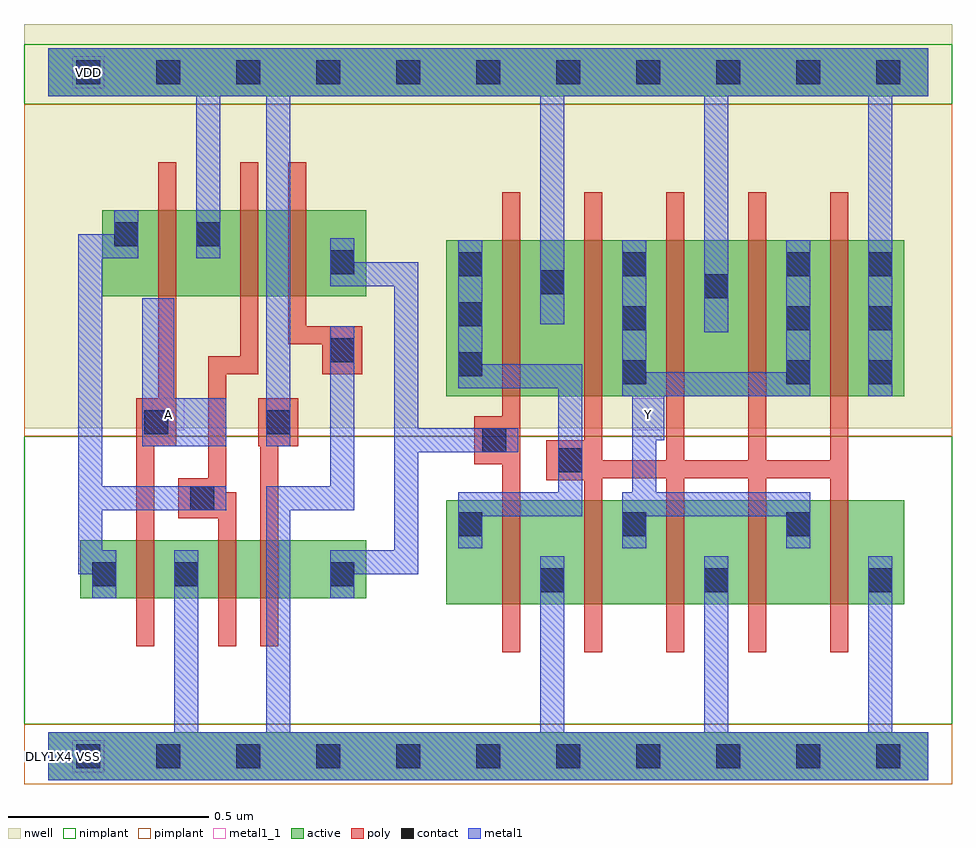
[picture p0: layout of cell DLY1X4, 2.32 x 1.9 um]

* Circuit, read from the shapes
.subckt DLY1X4 A VDD VSS Y
M1 VSS A n1 VSS nfet w=0.145u l=0.045u
M2 n2 n1 VSS VSS nfet w=0.145u l=0.045u
M3 n3 VDD n2 VSS nfet w=0.145u l=0.045u
M4 VSS n3 n4 VSS nfet w=0.26u l=0.045u
M5 Y n4 VSS VSS nfet w=0.26u l=0.045u m=4
M6 VDD A n1 VDD pfet w=0.215u l=0.045u
M7 n5 n1 VDD VDD pfet w=0.215u l=0.045u
M8 n3 VSS n5 VDD pfet w=0.215u l=0.045u
M9 VDD n3 n4 VDD pfet w=0.39u l=0.045u
M10 Y n4 VDD VDD pfet w=0.39u l=0.045u m=4
.ends

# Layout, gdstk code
import gdstk
lib = gdstk.Library(unit=1e-6, precision=5e-10)
def R(c, l, rs):  # rectangles x0, y0, x1, y1
    for r in rs: c.add(gdstk.rectangle(r[:2], r[2:], *l))
def A(c, l, x, y, w, h, nx, ny, dx, dy):  # array of equal rectangles
    R(c, l, [(x+i*dx, y+j*dy, x+i*dx+w, y+j*dy+h) for i in range(nx) for j in range(ny)])
def P(c, l, *ps):  # polygons
    for p in ps: c.add(gdstk.Polygon(p, *l))
active = (1, 0)
nwell = (2, 0)
poly = (3, 0)
nimplant = (4, 0)
pimplant = (5, 0)
contact = (6, 0)
metal1 = (7, 0)
metal1_1 = (7, 1)

dly1x4 = lib.new_cell('DLY1X4')
R(dly1x4, active, [(0,-0.06,2.2,0.06), (0.995,0.38,2.14,0.64), (0.08,0.395,0.795,0.54), (0.995,0.9,2.14,1.29), (0.135,1.15,0.795,1.365), (0,1.65,2.2,1.77)])
R(dly1x4, nwell, [(-0.06,0.82,2.26,1.83)])
P(dly1x4, poly, [(0.275,1.485),(0.32,1.485),(0.32,0.775),(0.265,0.775),(0.265,0.275),(0.22,0.275),(0.22,0.895),(0.275,0.895)],
  [(0.48,1.485),(0.525,1.485),(0.525,0.955),(0.445,0.955),(0.445,0.66),(0.47,0.66),(0.47,0.275),(0.425,0.275),(0.425,0.595),(0.325,0.595),(0.325,0.695),(0.4,0.695),(0.4,1),(0.48,1)],
  [(0.6,1.485),(0.645,1.485),(0.645,1.075),(0.785,1.075),(0.785,0.955),(0.685,0.955),(0.685,1.03),(0.6,1.03)],
  [(1.135,1.41),(1.18,1.41),(1.18,0.26),(1.135,0.26),(1.135,0.73),(1.065,0.73),(1.065,0.85),(1.135,0.85)],
  [(1.34,1.41),(1.385,1.41),(1.385,0.74),(1.545,0.74),(1.545,1.41),(1.59,1.41),(1.59,0.74),(1.75,0.74),(1.75,1.41),(1.795,1.41),(1.795,0.74),(1.955,0.74),(1.955,1.41),(2,1.41),(2,0.26),(1.955,0.26),(1.955,0.695),(1.795,0.695),(1.795,0.26),(1.75,0.26),(1.75,0.695),(1.59,0.695),(1.59,0.26),(1.545,0.26),(1.545,0.695),(1.385,0.695),(1.385,0.26),(1.34,0.26),(1.34,0.69),(1.245,0.69),(1.245,0.79),(1.34,0.79)],
  [(0.525,0.895),(0.625,0.895),(0.625,0.775),(0.575,0.775),(0.575,0.275),(0.53,0.275),(0.53,0.775),(0.525,0.775)])
R(dly1x4, nimplant, [(-0.06,0.08,2.26,0.8), (-0.06,1.63,2.26,1.78)])
R(dly1x4, pimplant, [(-0.06,-0.07,2.26,0.08), (-0.06,0.8,2.26,1.63)])
A(dly1x4, contact, 0.07, -0.03, 0.06, 0.06, 11, 2, 0.2, 1.71)
A(dly1x4, contact, 1.23, 0.41, 0.06, 0.06, 3, 1, 0.41, 0)
A(dly1x4, contact, 1.025, 0.55, 0.06, 0.06, 3, 2, 0.41, 0.65)
A(dly1x4, contact, 2.05, 0.93, 0.06, 0.06, 1, 3, 0, 0.135)
R(dly1x4, contact, [(0.11,0.425,0.17,0.485), (0.315,0.425,0.375,0.485), (0.705,0.425,0.765,0.485), (0.355,0.615,0.415,0.675), (1.275,0.71,1.335,0.77), (1.085,0.76,1.145,0.82), (0.24,0.805,0.3,0.865), (0.545,0.805,0.605,0.865), (1.435,0.93,1.495,0.99), (1.845,0.93,1.905,0.99), (1.025,0.95,1.085,1.01), (0.705,0.985,0.765,1.045), (1.435,1.065,1.495,1.125), (1.845,1.065,1.905,1.125), (1.025,1.075,1.085,1.135), (1.64,1.145,1.7,1.205), (1.23,1.155,1.29,1.215), (0.705,1.205,0.765,1.265), (0.165,1.275,0.225,1.335), (0.37,1.275,0.43,1.335)])
P(dly1x4, metal1, [(0,1.77),(2.2,1.77),(2.2,1.65),(2.11,1.65),(2.11,0.9),(2.05,0.9),(2.05,1.65),(1.7,1.65),(1.7,1.06),(1.64,1.06),(1.64,1.65),(1.29,1.65),(1.29,1.08),(1.23,1.08),(1.23,1.65),(0.605,1.65),(0.605,0.775),(0.545,0.775),(0.545,1.65),(0.43,1.65),(0.43,1.245),(0.37,1.245),(0.37,1.65),(0,1.65)],
  [(0.165,1.365),(0.225,1.365),(0.225,1.245),(0.135,1.245),(0.135,0.675),(0.445,0.675),(0.445,0.615),(0.135,0.615),(0.135,0.515),(0.17,0.515),(0.17,0.395),(0.11,0.395),(0.11,0.455),(0.075,0.455),(0.075,1.305),(0.165,1.305)],
  [(0.235,1.145),(0.315,1.145),(0.315,0.895),(0.445,0.895),(0.445,0.775),(0.235,0.775)],
  [(1.025,1.29),(1.085,1.29),(1.085,0.98),(1.335,0.98),(1.335,0.6),(1.085,0.6),(1.085,0.52),(1.025,0.52),(1.025,0.66),(1.275,0.66),(1.275,0.92),(1.025,0.92)],
  [(0.705,1.295),(0.765,1.295),(0.765,1.235),(0.925,1.235),(0.925,0.82),(1.175,0.82),(1.175,0.76),(0.925,0.76),(0.925,0.455),(0.765,0.455),(0.765,0.395),(0.705,0.395),(0.705,0.515),(0.865,0.515),(0.865,1.175),(0.705,1.175)],
  [(0.705,1.075),(0.765,1.075),(0.765,0.615),(0.605,0.615),(0.605,0.06),(1.23,0.06),(1.23,0.5),(1.29,0.5),(1.29,0.06),(1.64,0.06),(1.64,0.5),(1.7,0.5),(1.7,0.06),(2.05,0.06),(2.05,0.5),(2.11,0.5),(2.11,0.06),(2.2,0.06),(2.2,-0.06),(0,-0.06),(0,0.06),(0.315,0.06),(0.315,0.515),(0.375,0.515),(0.375,0.06),(0.545,0.06),(0.545,0.675),(0.705,0.675)],
  [(1.435,1.29),(1.495,1.29),(1.495,0.96),(1.845,0.96),(1.845,1.29),(1.905,1.29),(1.905,0.9),(1.54,0.9),(1.54,0.79),(1.52,0.79),(1.52,0.66),(1.905,0.66),(1.905,0.52),(1.845,0.52),(1.845,0.6),(1.495,0.6),(1.495,0.52),(1.435,0.52),(1.435,0.66),(1.46,0.66),(1.46,0.9),(1.435,0.9)])
R(dly1x4, metal1_1, [(0.06,-0.04,0.14,0.04), (0.26,0.815,0.34,0.895), (1.46,0.815,1.54,0.895), (0.06,1.67,0.14,1.75)])
dly1x4.add(gdstk.Label('Y', (1.5,0.855), layer=7, texttype=1))
dly1x4.add(gdstk.Label('A', (0.3,0.855), layer=7, texttype=1))
dly1x4.add(gdstk.Label('VDD', (0.1,1.71), layer=7, texttype=1))
dly1x4.add(gdstk.Label('VSS', (0.1,0), layer=7, texttype=1))
dly1x4.add(gdstk.Label('DLY1X4', (0,0), layer=63, texttype=0))

lib.write_gds('DLY1X4.gds')
